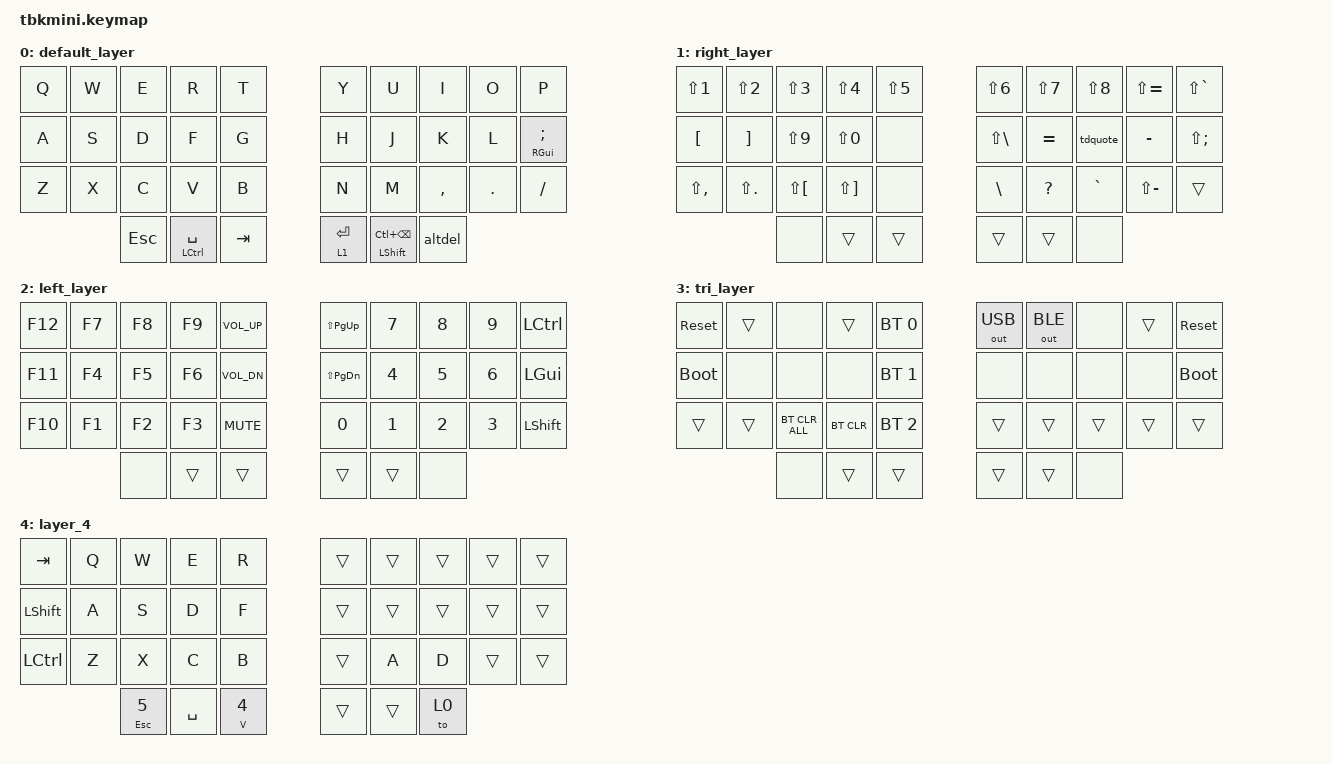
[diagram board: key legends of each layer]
#include <dt-bindings/zmk/mouse.h>
#include <behaviors.dtsi>
#include <dt-bindings/zmk/bt.h>
#include <dt-bindings/zmk/keys.h>
#include <dt-bindings/zmk/outputs.h>
#include <dt-bindings/zmk/pointing.h>

// Home row mods macro

#define HRML(k1,k2,k3,k4) &ht LSHFT k1  &ht LALT k2  &ht LCTRL k3  &ht LGUI k4
#define HRMR(k1,k2,k3,k4) &ht RGUI k1  &ht RCTRL k2  &ht RALT k3  &ht RSHFT k4

&mt { quick-tap-ms = <180>; };

/ {
    behaviors {
        ht: hold_tap {
            compatible = "zmk,behavior-hold-tap";
            #binding-cells = <2>;
            flavor = "tap-preferred";
            tapping-term-ms = <220>;
            quick-tap-ms = <150>;
            require-prior-idle-ms = <100>;
            bindings = <&kp>, <&kp>;
        };

        altdel: altdel {
            compatible = "zmk,behavior-tap-dance";
            #binding-cells = <0>;
            tapping-term-ms = <200>;
            bindings = <&kp LEFT_ALT>, <&kp DELETE>;
        };

        tdquote: tdquote {
            compatible = "zmk,behavior-tap-dance";
            #binding-cells = <0>;
            tapping-term-ms = <200>;
            bindings = <&kp SINGLE_QUOTE>, <&kp DOUBLE_QUOTES>;
        };

        hrmod: hrmod {
            compatible = "zmk,behavior-hold-tap";
            #binding-cells = <2>;
            flavor = "tap-preferred";
            quick-tap-ms = <200>;
            tapping-term-ms = <200>;
            require-prior-idle-ms = <125>;
            bindings = <&kp>, <&kp>;
        };

        hrmod_l: hrmod_l {
            compatible = "zmk,behavior-hold-tap";
            #binding-cells = <2>;
            flavor = "hold-preferred";
            quick-tap-ms = <200>;
            tapping-term-ms = <200>;
            require-prior-idle-ms = <80>;
            bindings = <&mo>, <&kp>;
        };
    };

    combos {
        compatible = "zmk,combos";

        combo_numbers {
            timeout-ms = <50>;
            key-positions = <31 34>;
            bindings = <&mo 2>;
        };

        combo_alt {
            timeout-ms = <50>;
            key-positions = <32 33>;
            bindings = <&mo 3>;
        };

        leftclick {
            bindings = <&mkp MB1>;
            key-positions = <16 17>;
        };

        rightclick {
            bindings = <&mkp RCLK>;
            key-positions = <17 18>;
        };

        Arrowup {
            bindings = <&kp UP_ARROW>;
            key-positions = <2 3>;
        };

        Arrowdown {
            bindings = <&kp DOWN_ARROW>;
            key-positions = <13 12>;
        };

        Arrowright {
            bindings = <&kp RIGHT_ARROW>;
            key-positions = <13 14>;
        };

        Arrowleft {
            bindings = <&kp LEFT_ARROW>;
            key-positions = <11 12>;
        };

        mouse3 {
            bindings = <&mkp MCLK>;
            key-positions = <18 16>;
        };

        to_game {
            bindings = <&to 4>;
            key-positions = <30 35>;
        };

        backspace {
            bindings = <&kp BACKSPACE>;
            key-positions = <26 27>;
        };
    };

    keymap {
        compatible = "zmk,keymap";

        default_layer {
            bindings = <
&kp Q  &kp W  &kp E       &kp R               &kp T      &kp Y             &kp U                         &kp I      &kp O    &kp P
&kp A  &kp S  &kp D       &kp F               &kp G      &kp H             &kp J                         &kp K      &kp L    &hrmod RGUI SEMI
&kp Z  &kp X  &kp C       &kp V               &kp B      &kp N             &kp M                         &kp COMMA  &kp DOT  &kp FSLH
              &kp ESCAPE  &hrmod LCTRL SPACE  &kp TAB    &hrmod_l 1 ENTER  &mt LEFT_SHIFT LC(BACKSPACE)  &altdel
            >;
        };

        right_layer {
            bindings = <
&kp LS(N1)     &kp LS(N2)   &kp LS(N3)    &kp LS(N4)    &kp LS(N5)    &kp LS(N6)    &kp LS(N7)  &kp LS(N8)  &kp LS(EQUAL)  &kp LS(GRAVE)
&kp LBKT       &kp RBKT     &kp LS(N9)    &kp LS(N0)    &none         &kp LS(BSLH)  &kp EQUAL   &tdquote    &kp MINUS      &kp LS(SEMI)
&kp LS(COMMA)  &kp LS(DOT)  &kp LS(LBKT)  &kp LS(RBKT)  &none         &kp BSLH      &kp QMARK   &kp GRAVE   &kp LS(MINUS)  &trans
                            &none         &trans        &trans        &trans        &trans      &none
            >;
        };

        left_layer {
            bindings = <
&kp F12  &kp F7  &kp F8  &kp F9  &kp C_VOL_UP    &kp LS(PG_UP)  &kp N7  &kp N8  &kp N9  &kp LCTRL
&kp F11  &kp F4  &kp F5  &kp F6  &kp C_VOL_DN    &kp LS(PG_DN)  &kp N4  &kp N5  &kp N6  &kp LEFT_GUI
&kp F10  &kp F1  &kp F2  &kp F3  &kp K_MUTE      &kp N0         &kp N1  &kp N2  &kp N3  &kp LEFT_SHIFT
                 &none   &trans  &trans          &trans         &trans  &none
            >;
        };

        tri_layer {
            bindings = <
&sys_reset   &trans  &none           &trans      &bt BT_SEL 0    &out OUT_USB  &out OUT_BLE  &none   &trans  &sys_reset
&bootloader  &none   &none           &none       &bt BT_SEL 1    &none         &none         &none   &none   &bootloader
&trans       &trans  &bt BT_CLR_ALL  &bt BT_CLR  &bt BT_SEL 2    &trans        &trans        &trans  &trans  &trans
                     &none           &trans      &trans          &trans        &trans        &none
            >;
        };

        layer_4 {
            bindings = <
&kp TAB         &kp Q  &kp W          &kp E      &kp R             &trans  &trans  &trans  &trans  &trans
&kp LEFT_SHIFT  &kp A  &kp S          &kp D      &kp F             &trans  &trans  &trans  &trans  &trans
&kp LCTRL       &kp Z  &kp X          &kp C      &kp B             &trans  &kp A   &kp D   &trans  &trans
                       &ht ESCAPE N5  &kp SPACE  &ht V NUMBER_4    &trans  &trans  &to 0
            >;
        };
    };
};
